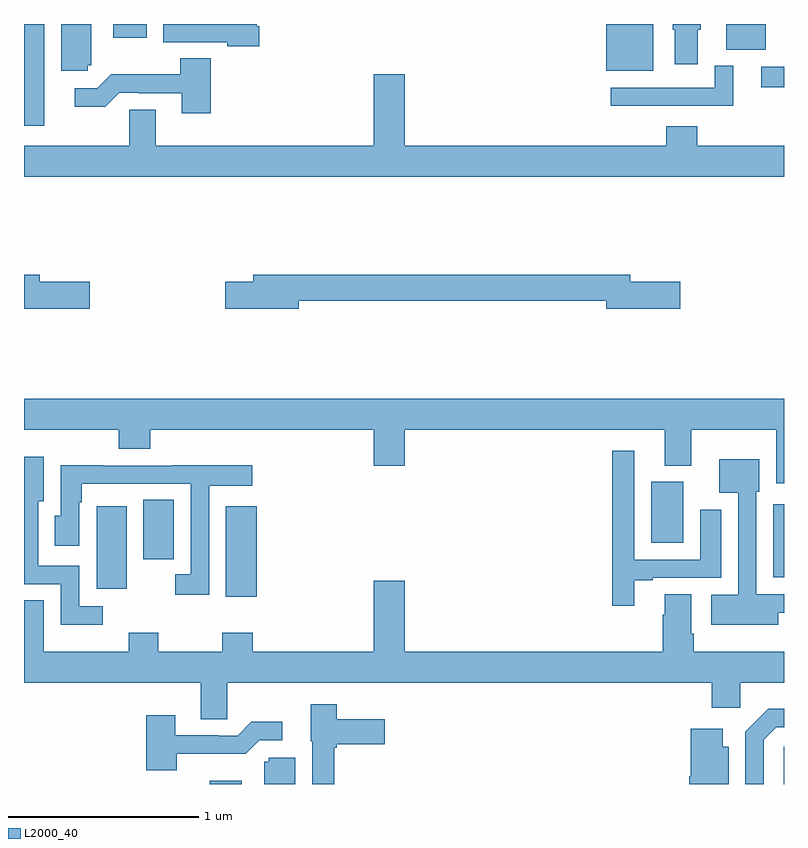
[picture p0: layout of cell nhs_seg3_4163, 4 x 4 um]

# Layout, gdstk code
import gdstk
lib = gdstk.Library(unit=1e-6, precision=1e-09)
def R(c, l, rs):  # rectangles x0, y0, x1, y1
    for r in rs: c.add(gdstk.rectangle(r[:2], r[2:], *l))
def P(c, l, *ps):  # polygons
    for p in ps: c.add(gdstk.Polygon(p, *l))
L2000_40 = (2000, 40)

nhs_seg3_4163 = lib.new_cell('nhs_seg3_4163')
R(nhs_seg3_4163, L2000_40, [(331.977,684.4,332.146,684.418), (334.998,684.4,335,684.597), (332.063,685.386,332.224,685.861), (331.382,685.428,331.54,685.861), (334.943,685.487,335,685.873), (331.628,685.584,331.789,685.895), (334.301,685.67,334.471,685.99), (331,687.864,331.107,688.4), (334.881,688.068,335,688.176), (334.064,688.154,334.312,688.4), (334.697,688.265,334.903,688.4), (331.47,688.328,331.647,688.4)])
P(nhs_seg3_4163, L2000_40, [(331.335,688.182),(331.354,688.182),(331.354,688.4),(331.196,688.4),(331.196,688.155),(331.335,688.155)],
  [(332.237,688.387),(332.224,688.387),(332.224,688.4),(331.732,688.4),(331.732,688.304),(332.07,688.304),(332.07,688.283),(332.237,688.283)],
  [(334.546,688.371),(334.561,688.371),(334.561,688.4),(334.415,688.4),(334.415,688.371),(334.424,688.371),(334.424,688.188),(334.546,688.188)],
  [(331.982,688.219),(331.822,688.219),(331.822,688.135),(331.459,688.135),(331.386,688.062),(331.266,688.062),(331.266,687.965),(331.427,687.965),(331.5,688.038),(331.6,688.038),(331.6,688.035),(331.829,688.035),(331.829,687.93),(331.982,687.93)],
  [(334.732,688.18),(334.635,688.18),(334.635,688.065),(334.089,688.065),(334.089,687.969),(334.732,687.969)],
  [(335,687.76),(334.544,687.76),(334.544,687.862),(334.379,687.862),(334.379,687.76),(333.004,687.76),(333.004,688.135),(332.84,688.135),(332.84,687.76),(331.693,687.76),(331.693,687.95),(331.554,687.95),(331.554,687.76),(331,687.76),(331,687.596),(335,687.596)],
  [(332.446,686.944),(334.064,686.944),(334.064,686.902),(334.453,686.902),(334.453,687.044),(334.192,687.044),(334.192,687.08),(332.207,687.08),(332.207,687.044),(332.058,687.044),(332.058,686.902),(332.446,686.902)],
  [(331.345,687.044),(331.084,687.044),(331.084,687.08),(331,687.08),(331,686.902),(331.345,686.902)],
  [(335,686.428),(331,686.428),(331,686.264),(331.499,686.264),(331.499,686.165),(331.664,686.165),(331.664,686.264),(332.84,686.264),(332.84,686.076),(333.004,686.076),(333.004,686.264),(334.373,686.264),(334.373,686.075),(334.513,686.075),(334.513,686.264),(334.958,686.264),(334.958,685.983),(335,685.983)],
  [(334.213,685.473),(334.309,685.473),(334.309,685.485),(334.669,685.485),(334.669,685.843),(334.559,685.843),(334.559,685.581),(334.212,685.581),(334.212,686.155),(334.096,686.155),(334.096,685.338),(334.213,685.338)],
  [(331.414,685.335),(331.29,685.335),(331.29,685.548),(331.075,685.548),(331.075,685.889),(331.105,685.889),(331.105,686.122),(331,686.122),(331,685.452),(331.194,685.452),(331.194,685.238),(331.414,685.238)],
  [(334.969,685.301),(335,685.301),(335,685.398),(334.854,685.398),(334.854,685.938),(334.87,685.938),(334.87,686.11),(334.658,686.11),(334.658,685.934),(334.758,685.934),(334.758,685.396),(334.617,685.396),(334.617,685.238),(334.969,685.238)],
  [(331.974,685.97),(332.2,685.97),(332.2,686.078),(331.781,686.078),(331.781,686.076),(331.415,686.076),(331.415,686.078),(331.194,686.078),(331.194,685.812),(331.163,685.812),(331.163,685.653),(331.29,685.653),(331.29,685.883),(331.303,685.883),(331.303,685.98),(331.878,685.98),(331.878,685.503),(331.797,685.503),(331.797,685.395),(331.974,685.395)],
  [(332.07,684.932),(334.619,684.932),(334.619,684.801),(334.77,684.801),(334.77,684.932),(335,684.932),(335,685.096),(334.526,685.096),(334.526,685.192),(334.513,685.192),(334.513,685.4),(334.373,685.4),(334.373,685.292),(334.361,685.292),(334.361,685.096),(333.004,685.096),(333.004,685.471),(332.84,685.471),(332.84,685.096),(332.204,685.096),(332.204,685.195),(332.044,685.195),(332.044,685.096),(331.707,685.096),(331.707,685.195),(331.552,685.195),(331.552,685.096),(331.105,685.096),(331.105,685.367),(331,685.367),(331,684.932),(331.931,684.932),(331.931,684.742),(332.07,684.742)],
  [(332.633,684.59),(332.646,684.59),(332.646,684.608),(332.899,684.608),(332.899,684.742),(332.646,684.742),(332.646,684.82),(332.51,684.82),(332.51,684.624),(332.517,684.624),(332.517,684.4),(332.633,684.4)],
  [(334.893,684.633),(334.959,684.699),(335,684.699),(335,684.796),(334.918,684.796),(334.797,684.675),(334.797,684.4),(334.893,684.4)],
  [(331.803,684.56),(332.167,684.56),(332.238,684.63),(332.359,684.63),(332.359,684.727),(332.197,684.727),(332.124,684.654),(332.024,684.654),(332.024,684.657),(331.795,684.657),(331.795,684.763),(331.643,684.763),(331.643,684.473),(331.803,684.473)],
  [(334.708,684.595),(334.678,684.595),(334.678,684.691),(334.508,684.691),(334.508,684.442),(334.501,684.442),(334.501,684.4),(334.708,684.4)],
  [(332.428,684.537),(332.289,684.537),(332.289,684.516),(332.264,684.516),(332.264,684.4),(332.428,684.4)])

lib.write_gds('nhs_seg3_4163.gds')
